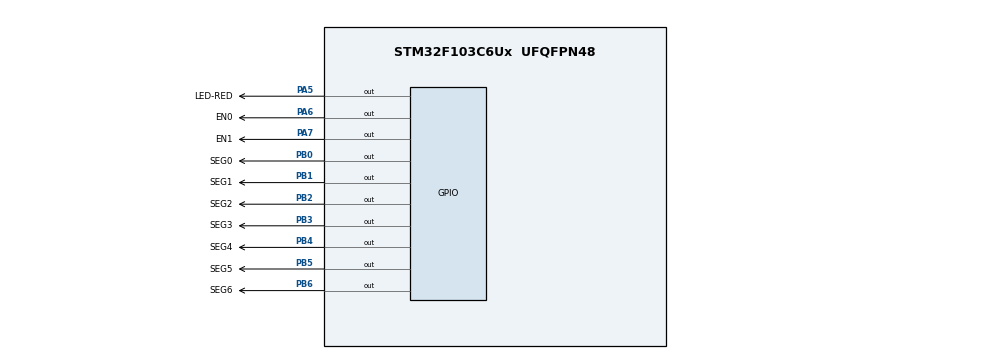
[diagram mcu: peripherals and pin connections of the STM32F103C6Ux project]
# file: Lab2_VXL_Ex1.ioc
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Mcu.Family=STM32F1
Mcu.Name=STM32F103C6Ux
Mcu.Package=UFQFPN48
NVIC.PriorityGroup=NVIC_PRIORITYGROUP_4
NVIC.TIM2_IRQn=true\:0\:0\:false\:false\:true\:true\:true
PA5.GPIO_Label=LED-RED
PA5.Signal=GPIO_Output
PA6.GPIO_Label=EN0
PA6.Signal=GPIO_Output
PA7.GPIO_Label=EN1
PA7.Signal=GPIO_Output
PB0.GPIO_Label=SEG0
PB0.Signal=GPIO_Output
PB1.GPIO_Label=SEG1
PB1.Signal=GPIO_Output
PB2.GPIO_Label=SEG2
PB2.Signal=GPIO_Output
PB3.GPIO_Label=SEG3
PB3.Signal=GPIO_Output
PB4.GPIO_Label=SEG4
PB4.Signal=GPIO_Output
PB5.GPIO_Label=SEG5
PB5.Signal=GPIO_Output
PB6.GPIO_Label=SEG6
PB6.Signal=GPIO_Output
ProjectManager.HeapSize=0x200
ProjectManager.StackSize=0x400
ProjectManager.TargetToolchain=STM32CubeIDE
RCC.APB1Freq_Value=8000000
RCC.APB2Freq_Value=8000000
TIM2.Period=9
TIM2.Prescaler=7999
VP_SYS_VS_ND.Mode=No_Debug
VP_TIM2_VS_ClockSourceINT.Mode=Internal
board=custom

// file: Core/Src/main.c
/* USER CODE BEGIN Header */
/**
  ******************************************************************************
  * @file           : main.c
  * @brief          : Main program body
  ******************************************************************************
  * @attention
  *
  * <h2><center>&copy; Copyright (c) 2025 STMicroelectronics.
  * All rights reserved.</center></h2>
  *
  * This software component is licensed by ST under BSD 3-Clause license,
  * the "License"; You may not use this file except in compliance with the
  * License. You may obtain a copy of the License at:
  *                        opensource.org/licenses/BSD-3-Clause
  *
  ******************************************************************************
  */
/* USER CODE END Header */
#include "main.h"

TIM_HandleTypeDef htim2;

void SystemClock_Config(void);
static void MX_GPIO_Init(void);
static void MX_TIM2_Init(void);

void display7SEG(int num){
	char led7segm[10]={0xC0, 0xF9, 0xA4, 0xB0, 0x99, 0x92, 0x82, 0xF8, 0x80, 0x90};
	for(int i=0;i<7;i++){
		HAL_GPIO_WritePin(GPIOB, SEG0_Pin<<i,(led7segm[num]>>i)&1);
	}
}

int main(void)
{

  /* MCU Configuration--------------------------------------------------------*/

  /* Reset of all peripherals, Initializes the Flash interface and the Systick. */
  HAL_Init();

  /* Configure the system clock */
  SystemClock_Config();

  /* Initialize all configured peripherals */
  MX_GPIO_Init();
  MX_TIM2_Init();
  /* USER CODE BEGIN 2 */
  HAL_TIM_Base_Start_IT (& htim2 ) ;
  /* USER CODE END 2 */

  /* Infinite loop */
  while (1)
  {

  }
}

void SystemClock_Config(void)
{
  RCC_OscInitTypeDef RCC_OscInitStruct = {0};
  RCC_ClkInitTypeDef RCC_ClkInitStruct = {0};

  /** Initializes the RCC Oscillators according to the specified parameters
  * in the RCC_OscInitTypeDef structure.
  */
  RCC_OscInitStruct.OscillatorType = RCC_OSCILLATORTYPE_HSI;
  RCC_OscInitStruct.HSIState = RCC_HSI_ON;
  RCC_OscInitStruct.HSICalibrationValue = RCC_HSICALIBRATION_DEFAULT;
  RCC_OscInitStruct.PLL.PLLState = RCC_PLL_NONE;
  if (HAL_RCC_OscConfig(&RCC_OscInitStruct) != HAL_OK)
  {
    Error_Handler();
  }
  /** Initializes the CPU, AHB and APB buses clocks
  */
  RCC_ClkInitStruct.ClockType = RCC_CLOCKTYPE_HCLK|RCC_CLOCKTYPE_SYSCLK
                              |RCC_CLOCKTYPE_PCLK1|RCC_CLOCKTYPE_PCLK2;
  RCC_ClkInitStruct.SYSCLKSource = RCC_SYSCLKSOURCE_HSI;
  RCC_ClkInitStruct.AHBCLKDivider = RCC_SYSCLK_DIV1;
  RCC_ClkInitStruct.APB1CLKDivider = RCC_HCLK_DIV1;
  RCC_ClkInitStruct.APB2CLKDivider = RCC_HCLK_DIV1;

  if (HAL_RCC_ClockConfig(&RCC_ClkInitStruct, FLASH_LATENCY_0) != HAL_OK)
  {
    Error_Handler();
  }
}

static void MX_TIM2_Init(void)
{

  TIM_ClockConfigTypeDef sClockSourceConfig = {0};
  TIM_MasterConfigTypeDef sMasterConfig = {0};

  htim2.Instance = TIM2;
  htim2.Init.Prescaler = 7999;
  htim2.Init.CounterMode = TIM_COUNTERMODE_UP;
  htim2.Init.Period = 9;
  htim2.Init.ClockDivision = TIM_CLOCKDIVISION_DIV1;
  htim2.Init.AutoReloadPreload = TIM_AUTORELOAD_PRELOAD_DISABLE;
  if (HAL_TIM_Base_Init(&htim2) != HAL_OK)
  {
    Error_Handler();
  }
  sClockSourceConfig.ClockSource = TIM_CLOCKSOURCE_INTERNAL;
  if (HAL_TIM_ConfigClockSource(&htim2, &sClockSourceConfig) != HAL_OK)
  {
    Error_Handler();
  }
  sMasterConfig.MasterOutputTrigger = TIM_TRGO_RESET;
  sMasterConfig.MasterSlaveMode = TIM_MASTERSLAVEMODE_DISABLE;
  if (HAL_TIMEx_MasterConfigSynchronization(&htim2, &sMasterConfig) != HAL_OK)
  {
    Error_Handler();
  }

}

static void MX_GPIO_Init(void)
{
  GPIO_InitTypeDef GPIO_InitStruct = {0};

  /* GPIO Ports Clock Enable */
  __HAL_RCC_GPIOA_CLK_ENABLE();
  __HAL_RCC_GPIOB_CLK_ENABLE();

  /*Configure GPIO pin Output Level */
  HAL_GPIO_WritePin(GPIOA, LED_RED_Pin|EN0_Pin|EN1_Pin, GPIO_PIN_RESET);

  /*Configure GPIO pin Output Level */
  HAL_GPIO_WritePin(GPIOB, SEG0_Pin|SEG1_Pin|SEG2_Pin|SEG3_Pin
                          |SEG4_Pin|SEG5_Pin|SEG6_Pin, GPIO_PIN_SET);

  /*Configure GPIO pins : LED_RED_Pin EN0_Pin EN1_Pin */
  GPIO_InitStruct.Pin = LED_RED_Pin|EN0_Pin|EN1_Pin;
  GPIO_InitStruct.Mode = GPIO_MODE_OUTPUT_PP;
  GPIO_InitStruct.Pull = GPIO_NOPULL;
  GPIO_InitStruct.Speed = GPIO_SPEED_FREQ_LOW;
  HAL_GPIO_Init(GPIOA, &GPIO_InitStruct);

  /*Configure GPIO pins : SEG0_Pin SEG1_Pin SEG2_Pin SEG3_Pin
                           SEG4_Pin SEG5_Pin SEG6_Pin */
  GPIO_InitStruct.Pin = SEG0_Pin|SEG1_Pin|SEG2_Pin|SEG3_Pin
                          |SEG4_Pin|SEG5_Pin|SEG6_Pin;
  GPIO_InitStruct.Mode = GPIO_MODE_OUTPUT_PP;
  GPIO_InitStruct.Pull = GPIO_NOPULL;
  GPIO_InitStruct.Speed = GPIO_SPEED_FREQ_LOW;
  HAL_GPIO_Init(GPIOB, &GPIO_InitStruct);

}

/* USER CODE BEGIN 4 */
int current_display = 0;
int counter=0;
void HAL_TIM_PeriodElapsedCallback(TIM_HandleTypeDef *htim)
{
    counter++;
    if (counter >= 50)
    {
        counter = 0;
        if (current_display == 0)
        {
            HAL_GPIO_WritePin(EN0_GPIO_Port, EN0_Pin, GPIO_PIN_RESET);
            HAL_GPIO_WritePin(EN1_GPIO_Port, EN1_Pin, GPIO_PIN_SET);
            display7SEG(1);
            current_display = 1;
        }
        else
        {
            HAL_GPIO_WritePin(EN0_GPIO_Port, EN0_Pin, GPIO_PIN_SET);
            HAL_GPIO_WritePin(EN1_GPIO_Port, EN1_Pin, GPIO_PIN_RESET);
            display7SEG(2);
            current_display = 0;
        }
    }
}

/* USER CODE END 4 */

void Error_Handler(void)
{
  __disable_irq();
  while (1)
  {
  }
}

/************************ (C) COPYRIGHT STMicroelectronics *****END OF FILE****/
